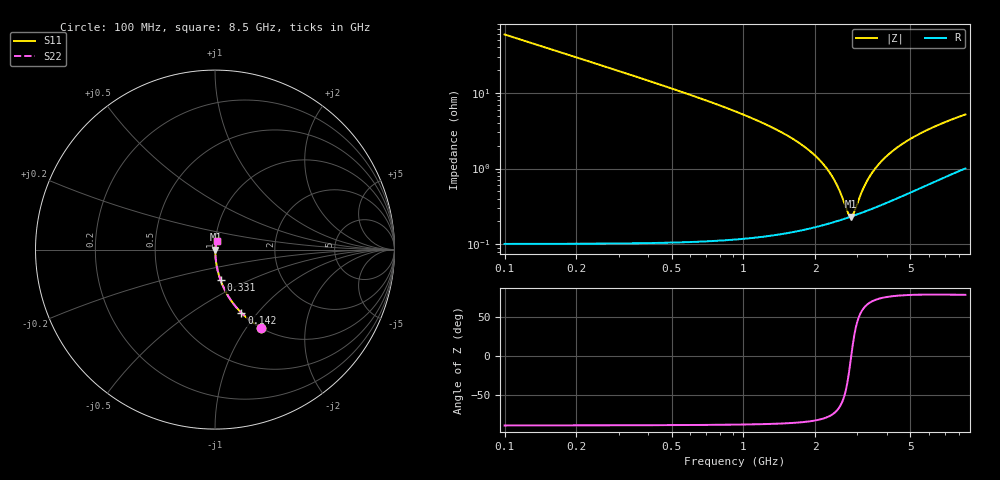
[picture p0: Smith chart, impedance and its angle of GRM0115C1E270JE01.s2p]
!Murata Part Number: GRM0115C1E270JE01
!These Parameters are Measured in Series Mode Connection
!Data Generated on Mar 30, 2021
!  o--ll--o
!Port1  Port2
!  o------o
!Operation Temp=25[degC], DC Bias Voltage=0[V]
!Freq. Start=100[MHz] Stop=9[GHz] 401[Steps]
# Hz S RI R 50
!Freq.(Hz) S11(Real) S11(Imag) S21(Real) S21(Imag) S12(Real) S12(Imag) S22(Real) S22(Imag)
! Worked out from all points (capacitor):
!   401 points, 100 MHz to 8.5 GHz, reference 50 ohm
!   read as one part in series: C = 27 pF near 142 MHz
!   lowest |Z| = 232 mohm at 2.809 GHz (marker M1)
!   series resonance near 2.828 GHz, so ESL is about 120 pH
!   S11 on the Smith chart (normalised r, x): 100 MHz: 1.00, -1.18; 142 MHz: 1.00, -0.83; 331 MHz: 1.00, -0.35; 8.5 GHz: 1.02, +0.10
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1e8  0.2577 -0.4365  0.7423 0.4365  0.7423 0.4365  0.2577 -0.4365
1.42e8  0.147 -0.3528  0.853 0.3528  0.853 0.3528  0.147 -0.3528
2.05e8  0.0764 -0.2639  0.9236 0.2639  0.9236 0.2639  0.0764 -0.2639
3.31e8  0.0309 -0.17  0.9691 0.17  0.9691 0.17  0.0309 -0.17
4.99e8  0.0139 -0.1127  0.9861 0.1127  0.9861 0.1127  0.0139 -0.1127
7.3e8  0.00672 -0.0747  0.9933 0.0747  0.9933 0.0747  0.00672 -0.0747
1.507e9  0.00217 -0.0278  0.9978 0.0278  0.9978 0.0278  0.00217 -0.0278
1.927e9  0.00189 -0.0162  0.9981 0.0162  0.9981 0.0162  0.00189 -0.0162
2.242e9  0.00194 -0.00965  0.9981 0.00965  0.9981 0.00965  0.00194 -0.00965
2.452e9  0.00204 -0.00589  0.998 0.00589  0.998 0.00589  0.00204 -0.00589
2.725e9  0.00223 -0.00152  0.9978 0.00152  0.9978 0.00152  0.00223 -0.00152
2.809e9  0.0023 -0.000275  0.9977 0.000275  0.9977 0.000275  0.0023 -0.000275
2.851e9  0.00234 0.000333  0.9977 -0.000333  0.9977 -0.000333  0.00234 0.000333
2.914e9  0.0024 0.00123  0.9976 -0.00123  0.9976 -0.00123  0.0024 0.00123
3.166e9  0.00266 0.00462  0.9973 -0.00462  0.9973 -0.00462  0.00266 0.00462
3.439e9  0.00298 0.00801  0.997 -0.00801  0.997 -0.00801  0.00298 0.00801
3.817e9  0.00347 0.0123  0.9965 -0.0123  0.9965 -0.0123  0.00347 0.0123
4.3e9  0.00419 0.0173  0.9958 -0.0173  0.9958 -0.0173  0.00419 0.0173
4.93e9  0.00524 0.0233  0.9948 -0.0233  0.9948 -0.0233  0.00524 0.0233
5.707e9  0.00666 0.0299  0.9933 -0.0299  0.9933 -0.0299  0.00666 0.0299
7.114e9  0.00949 0.0405  0.9905 -0.0405  0.9905 -0.0405  0.00949 0.0405
8.5e9  0.0124 0.0497  0.9876 -0.0497  0.9876 -0.0497  0.0124 0.0497
